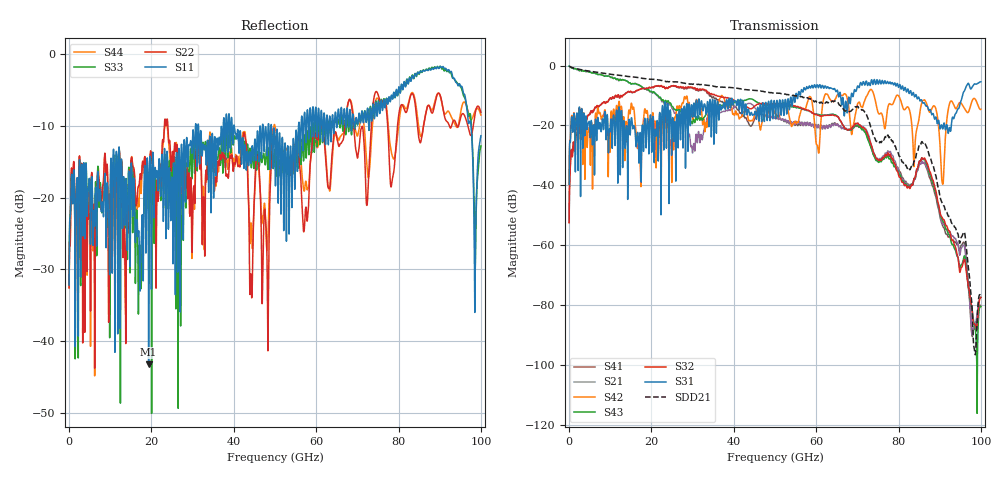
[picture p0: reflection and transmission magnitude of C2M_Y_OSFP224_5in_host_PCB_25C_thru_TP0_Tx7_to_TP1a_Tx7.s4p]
# GHz S RI R 45
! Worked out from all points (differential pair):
!   4000 points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, 25 MHz to 100 GHz, reference 45 ohm
!   strongest paths, dB at 25 MHz, 25.02 GHz, 50.02 GHz, 75.03 GHz, 100 GHz:
!     S31: -39.7, -21.0, -14.6, -6.0, -5.4
!     S32: -52.4, -6.8, -12.8, -31.5, -77.5
!     S43: -0.2, -13.6, -13.6, -32.1, -80.5
!     S42: -39.6, -29.2, -16.0, -15.6, -14.6
!     S21: -0.2, -14.4, -17.5, -31.3, -77.4
!     S41: -52.4, -6.8, -17.4, -31.9, -80.5
!   taken as a pair (ports 3,1 in; 4,2 out), SDD21 dB: -0.2, -5.4, -9.2, -25.7, -77.6
!   lowest |S11| = -43.2 dB at 19.32 GHz (marker M1), VSWR 1.01, Z = 44.4 + j0.225 ohm
!   |S11| at or under -10 dB: start of sweep to 30.71 GHz; 40.12 GHz to 46.97 GHz (6.846 GHz wide, 15.7 % of centre); 49.13 GHz to 55.73 GHz (6.592 GHz wide, 12.6 % of centre)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
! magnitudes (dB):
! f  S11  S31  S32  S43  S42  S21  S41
! 25 MHz  -32.2  -39.7  -52.4  -0.2  -39.6  -0.2  -52.4
! 4.95 GHz  -17.3  -18.9  -16.4  -2.2  -20.6  -2.2  -16.3
! 19.32 GHz  -43.2  -24.5  -7.4  -8.1  -21.6  -8.1  -7.4
! 86.08 GHz  -2.3  -12.4  -31.2  -31.4  -11.6  -32.5  -32.6
! 90.67 GHz  -1.8  -21.0  -51.0  -51.7  -39.4  -52.7  -53.4
! 92.6 GHz  -2.5  -21.9  -56.4  -57.8  -12.0  -55.9  -57.5
! 100 GHz  -11.4  -5.4  -77.5  -80.5  -14.6  -77.4  -80.5
